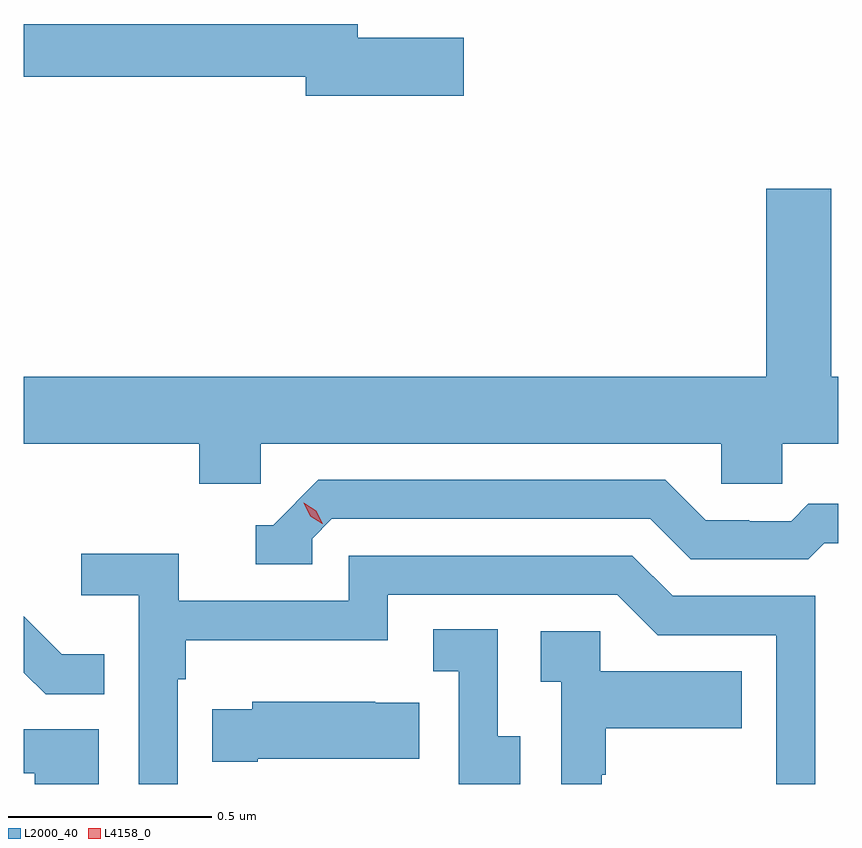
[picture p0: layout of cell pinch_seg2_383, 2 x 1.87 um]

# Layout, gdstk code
import gdstk
lib = gdstk.Library(unit=1e-6, precision=1e-09)
def P(c, l, *ps):  # polygons
    for p in ps: c.add(gdstk.Polygon(p, *l))
L2000_40 = (2000, 40)
L4158_0 = (4158, 0)

pinch_seg2_383 = lib.new_cell('pinch_seg2_383')
P(pinch_seg2_383, L2000_40, [(1002.229,608.673),(1001.968,608.673),(1001.968,608.707),(1001.148,608.707),(1001.148,608.578),(1001.84,608.578),(1001.84,608.531),(1002.229,608.531)],
  [(1001.148,607.676),(1001.579,607.676),(1001.579,607.578),(1001.73,607.578),(1001.73,607.676),(1002.861,607.676),(1002.861,607.578),(1003.011,607.578),(1003.011,607.676),(1003.148,607.676),(1003.148,607.84),(1003.131,607.84),(1003.131,608.302),(1002.971,608.302),(1002.971,607.84),(1001.148,607.84)],
  [(1001.856,607.443),(1001.904,607.491),(1002.687,607.491),(1002.786,607.392),(1003.075,607.392),(1003.114,607.431),(1003.148,607.431),(1003.148,607.528),(1003.075,607.528),(1003.033,607.485),(1002.93,607.485),(1002.93,607.488),(1002.823,607.488),(1002.724,607.587),(1001.871,607.587),(1001.76,607.476),(1001.717,607.476),(1001.717,607.38),(1001.856,607.38)],
  [(1001.526,607.097),(1001.546,607.097),(1001.546,607.193),(1002.042,607.193),(1002.042,607.305),(1002.606,607.305),(1002.705,607.206),(1002.996,607.206),(1002.996,606.84),(1003.092,606.84),(1003.092,607.302),(1002.742,607.302),(1002.643,607.401),(1001.946,607.401),(1001.946,607.29),(1001.528,607.29),(1001.528,607.406),(1001.289,607.406),(1001.289,607.304),(1001.43,607.304),(1001.43,606.84),(1001.526,606.84)],
  [(1001.345,607.159),(1001.241,607.159),(1001.148,607.252),(1001.148,607.113),(1001.201,607.06),(1001.345,607.06)],
  [(1002.367,606.957),(1002.312,606.957),(1002.312,607.22),(1002.153,607.22),(1002.153,607.117),(1002.216,607.117),(1002.216,606.84),(1002.367,606.84)],
  [(1002.567,606.863),(1002.577,606.863),(1002.577,606.977),(1002.911,606.977),(1002.911,607.117),(1002.564,607.117),(1002.564,607.215),(1002.417,607.215),(1002.417,607.091),(1002.468,607.091),(1002.468,606.84),(1002.567,606.84)],
  [(1001.722,606.902),(1002.119,606.902),(1002.119,607.039),(1002.011,607.039),(1002.011,607.042),(1001.709,607.042),(1001.709,607.024),(1001.611,607.024),(1001.611,606.895),(1001.722,606.895)],
  [(1001.332,606.975),(1001.148,606.975),(1001.148,606.867),(1001.174,606.867),(1001.174,606.84),(1001.332,606.84)])
P(pinch_seg2_383, L4158_0, [(1001.881,607.479),(1001.851,607.498),(1001.835,607.531),(1001.835,607.531),(1001.835,607.531),(1001.866,607.511),(1001.882,607.479),(1001.882,607.479)])

lib.write_gds('pinch_seg2_383.gds')
